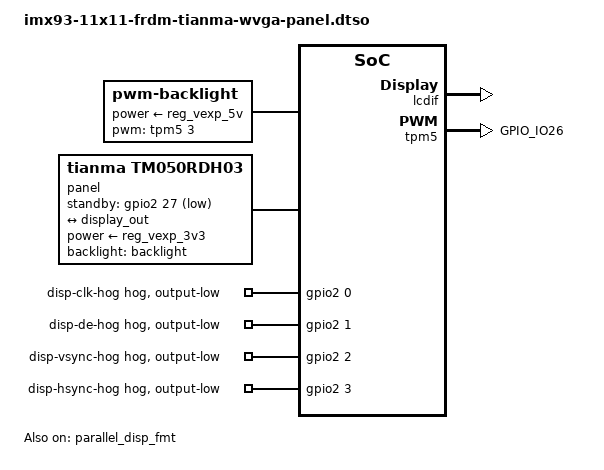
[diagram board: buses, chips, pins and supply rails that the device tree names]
// SPDX-License-Identifier: (GPL-2.0+ OR MIT)
/*
 * Copyright 2025 NXP
 */

#include <dt-bindings/gpio/gpio.h>
#include <dt-bindings/pwm/pwm.h>
#include "imx93-pinfunc.h"

/dts-v1/;
/plugin/;

&{/} {
	backlight: backlight {
		compatible = "pwm-backlight";
		pwms = <&tpm5 3 40000 PWM_POLARITY_INVERTED>;	/* 25KHz PWM */
		brightness-levels = <0 100>;
		num-interpolated-steps = <100>;
		default-brightness-level = <80>;
		power-supply = <&reg_vexp_5v>;
	};

	panel {
		compatible = "tianma,tm050rdh03";
		standby-gpios = <&gpio2 27 GPIO_ACTIVE_LOW>;	/* STBYB */
		backlight = <&backlight>;
		power-supply = <&reg_vexp_3v3>;

		port {
			panel_in: endpoint {
				remote-endpoint = <&display_out>;
			};
		};
	};
};

/* pin conflicts */
&flexcan2 {
	status = "disabled";
};

&gpio2 {
	/* avoid power leakage */
	disp-clk-hog {
		gpio-hog;
		gpios = <0 GPIO_ACTIVE_HIGH>;
		output-low;
	};

	disp-de-hog {
		gpio-hog;
		gpios = <1 GPIO_ACTIVE_HIGH>;
		output-low;
	};

	disp-vsync-hog {
		gpio-hog;
		gpios = <2 GPIO_ACTIVE_HIGH>;
		output-low;
	};

	disp-hsync-hog {
		gpio-hog;
		gpios = <3 GPIO_ACTIVE_HIGH>;
		output-low;
	};
};

&iomuxc {
	pinctrl_lcdif: lcdifgrp {
		fsl,pins = <
			MX93_PAD_GPIO_IO00__MEDIAMIX_DISP_CLK		0x31e
			MX93_PAD_GPIO_IO01__MEDIAMIX_DISP_DE		0x31e
			MX93_PAD_GPIO_IO02__MEDIAMIX_DISP_VSYNC		0x31e
			MX93_PAD_GPIO_IO03__MEDIAMIX_DISP_HSYNC		0x31e
			MX93_PAD_GPIO_IO04__MEDIAMIX_DISP_DATA00	0x31e
			MX93_PAD_GPIO_IO05__MEDIAMIX_DISP_DATA01	0x31e
			MX93_PAD_GPIO_IO06__MEDIAMIX_DISP_DATA02	0x31e
			MX93_PAD_GPIO_IO07__MEDIAMIX_DISP_DATA03	0x31e
			MX93_PAD_GPIO_IO08__MEDIAMIX_DISP_DATA04	0x31e
			MX93_PAD_GPIO_IO09__MEDIAMIX_DISP_DATA05	0x31e
			MX93_PAD_GPIO_IO10__MEDIAMIX_DISP_DATA06	0x31e
			MX93_PAD_GPIO_IO11__MEDIAMIX_DISP_DATA07	0x31e
			MX93_PAD_GPIO_IO12__MEDIAMIX_DISP_DATA08	0x31e
			MX93_PAD_GPIO_IO13__MEDIAMIX_DISP_DATA09	0x31e
			MX93_PAD_GPIO_IO14__MEDIAMIX_DISP_DATA10	0x31e
			MX93_PAD_GPIO_IO15__MEDIAMIX_DISP_DATA11	0x31e
			MX93_PAD_GPIO_IO16__MEDIAMIX_DISP_DATA12	0x31e
			MX93_PAD_GPIO_IO17__MEDIAMIX_DISP_DATA13	0x31e
			MX93_PAD_GPIO_IO18__MEDIAMIX_DISP_DATA14	0x31e
			MX93_PAD_GPIO_IO19__MEDIAMIX_DISP_DATA15	0x31e
			MX93_PAD_GPIO_IO20__MEDIAMIX_DISP_DATA16	0x31e
			MX93_PAD_GPIO_IO21__MEDIAMIX_DISP_DATA17	0x31e
			MX93_PAD_GPIO_IO27__GPIO2_IO27			0x31e
		>;
	};

	pinctrl_lcdif_gpio: lcdifgpiogrp {
		fsl,pins = <
			MX93_PAD_GPIO_IO00__GPIO2_IO00			0x51e
			MX93_PAD_GPIO_IO01__GPIO2_IO01			0x51e
			MX93_PAD_GPIO_IO02__GPIO2_IO02			0x51e
			MX93_PAD_GPIO_IO03__GPIO2_IO03			0x51e
			MX93_PAD_GPIO_IO04__GPIO2_IO04			0x51e
			MX93_PAD_GPIO_IO05__GPIO2_IO05			0x51e
			MX93_PAD_GPIO_IO06__GPIO2_IO06			0x51e
			MX93_PAD_GPIO_IO07__GPIO2_IO07			0x51e
			MX93_PAD_GPIO_IO08__GPIO2_IO08			0x51e
			MX93_PAD_GPIO_IO09__GPIO2_IO09			0x51e
			MX93_PAD_GPIO_IO10__GPIO2_IO10			0x51e
			MX93_PAD_GPIO_IO11__GPIO2_IO11			0x51e
			MX93_PAD_GPIO_IO12__GPIO2_IO12			0x51e
			MX93_PAD_GPIO_IO13__GPIO2_IO13			0x51e
			MX93_PAD_GPIO_IO14__GPIO2_IO14			0x51e
			MX93_PAD_GPIO_IO15__GPIO2_IO15			0x51e
			MX93_PAD_GPIO_IO16__GPIO2_IO16			0x51e
			MX93_PAD_GPIO_IO17__GPIO2_IO17			0x51e
			MX93_PAD_GPIO_IO18__GPIO2_IO18			0x51e
			MX93_PAD_GPIO_IO19__GPIO2_IO19			0x51e
			MX93_PAD_GPIO_IO20__GPIO2_IO20			0x51e
			MX93_PAD_GPIO_IO21__GPIO2_IO21			0x51e
			MX93_PAD_GPIO_IO27__GPIO2_IO27			0x51e
		>;
	};

	pinctrl_tpm5_ch3: tpm5ch3grp {
		fsl,pins = <
			MX93_PAD_GPIO_IO26__TPM5_CH3			0x31e
		>;
	};
};

&lcdif {
	assigned-clock-rates = <300000000>, <30000000>, <333333334>, <125000000>;
	status = "okay";
};

&ldb {
	status = "disabled";
};

&ldb_phy {
	status = "disabled";
};

/* pin conflicts */
&lpspi3 {
	status = "disabled";
};

&lvds_bridge {
	status = "disabled";
};

&parallel_disp_fmt {
	pinctrl-names = "default", "gpio";
	pinctrl-0 = <&pinctrl_lcdif>;
	pinctrl-1 = <&pinctrl_lcdif_gpio>;
	fsl,interface-pix-fmt = "rgb666";
	status = "okay";

	ports {
		#address-cells = <1>;
		#size-cells = <0>;

		port@1 {
			reg = <1>;

			display_out: endpoint {
				remote-endpoint = <&panel_in>;
			};
		};
	};
};

/* pin conflicts */
&tpm3 {
	status = "disabled";
};

&tpm4 {
	status = "disabled";
};

&tpm5 {
	pinctrl-names = "default";
	pinctrl-0 = <&pinctrl_tpm5_ch3>;
	status = "okay";
};
